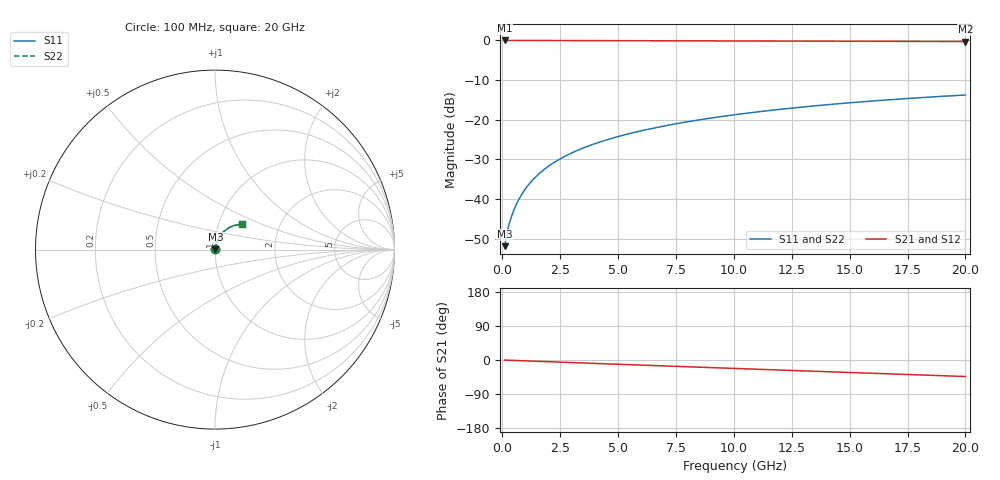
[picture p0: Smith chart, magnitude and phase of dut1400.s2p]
! Touchstone file exported from HFSS 2026.1.0
!  File:  C:/ffzhzh/LocalFiles/Ansys_Project_Files/temp_train_BSMRDL_1400_1783179875_51560.aedt
!  Generated:  11:45:52 PM Jul  4, 2026
!  Design:  BSMRDL
!  Project:  temp_train_BSMRDL_1400_1783179875_51560
! Variables:
!  h_bsmrdl = 5.34um
!  h_ox = 20um
!  h_rdl = 5um
!  h_sub = 80um
!  h_tmrdl = 5um
!  h_tsv = 80um
!  h_via = 3um
!  l_bsmrdl = 735.09um
!  l_sub = 1135.09um
!  l_tmrdl = 200um
!  m_sub = 200um
!  pitch = 43.33um
!  r_tsv = 6um
!  s_tmrdl = 10um
!  w_bsmrdl = 29.49um
!  w_sub = 500um
!  w_tmrdl = 12um
!  x_tsv_center1 = 206um
!  x_tsv_center2 = 970.58um
!  x_tsv_center3 = 1182.58um
!  x_tsv_center4 = 1947.16um
!  x_tsv_center5 = 2159.16um
!  x_tsv_center6 = 2923.74um
# GHz S MA R 50.000000
! Terminal data exported
! Port[1] = BSM_RDL1_1_T1
! Port[2] = BSM_RDL1_1_T2
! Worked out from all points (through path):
!   200 points, 100 MHz to 20 GHz, reference 50 ohm
!   highest |S21| = -0.02 dB at 100 MHz (marker M1); lowest = -0.3 dB at 20 GHz (marker M2)
!   group delay of S21, straight-line fit = 6.04 ps
!   lowest |S11| = -51.9 dB at 100 MHz (marker M3), VSWR 1.01, Z = 50.2 + j0.164 ohm
!   |S11| at or under -10 dB: start of sweep to end of sweep
!   |S22| runs from -51.9 to -13.8 dB; largest |S21 - S12| = 3.1e-15
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0.1  0.002545 39.8  0.9981 -0.2  0.9981 -0.2  0.002545 39.8
! Gamma 0 0 0 0
! Port Impedance 50 0 50 0
0.2  0.003723 53.3  0.9978 -0.5  0.9978 -0.5  0.003723 53.3
0.3  0.004875 60.4  0.9976 -0.7  0.9976 -0.7  0.004875 60.4
0.4  0.006043 65.1  0.9975 -0.9  0.9975 -0.9  0.006043 65.1
0.5  0.007238 68.4  0.9975 -1.2  0.9975 -1.2  0.007238 68.4
0.6  0.008458 70.8  0.9974 -1.4  0.9974 -1.4  0.008458 70.8
0.8  0.01094 73.9  0.9973 -1.9  0.9973 -1.9  0.01094 73.9
1.1  0.01472 76.2  0.997 -2.5  0.997 -2.5  0.01472 76.2
1.3  0.01724 76.9  0.9968 -3.0  0.9968 -3.0  0.01724 76.9
1.6  0.02101 77.4  0.9965 -3.7  0.9965 -3.7  0.02101 77.4
2.1  0.02723 77.4  0.9959 -4.8  0.9959 -4.8  0.02723 77.4
2.7  0.03454 76.8  0.9952 -6.2  0.9952 -6.2  0.03454 76.8
3.5  0.04406 75.5  0.994 -7.9  0.994 -7.9  0.04406 75.5
4.2  0.05219 74.3  0.993 -9.5  0.993 -9.5  0.05219 74.3
5  0.06131 72.9  0.9919 -11.3  0.9919 -11.3  0.06131 72.9
5.9  0.07138 71.2  0.9906 -13.3  0.9906 -13.3  0.07138 71.2
6.8  0.08128 69.5  0.9892 -15.2  0.9892 -15.2  0.08127 69.5
8.3  0.09741 66.6  0.987 -18.5  0.987 -18.5  0.09741 66.7
10.1  0.1162 63.1  0.9841 -22.4  0.9841 -22.4  0.1162 63.1
13.4  0.1486 56.5  0.9786 -29.6  0.9786 -29.6  0.1486 56.6
16.7  0.1784 49.9  0.9726 -36.6  0.9726 -36.6  0.1783 49.9
20  0.2049 43.2  0.9667 -43.6  0.9667 -43.6  0.2049 43.3
